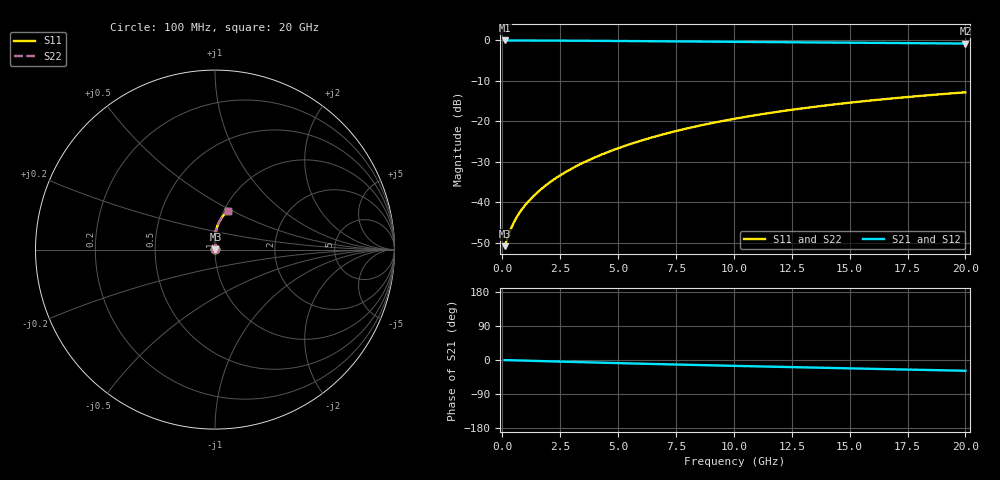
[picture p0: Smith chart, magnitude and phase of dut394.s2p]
! Touchstone file exported from HFSS 2024.1.0
!  File:  C:/UserFiles/LocalFiles/RDL_TSV_Batchsim/temp_RDL_top_394_1779609942.aedt
!  Generated:  04:07:58 PM May 24, 2026
!  Design:  RDL_top
!  Project:  temp_RDL_top_394_1779609942
!  Setup:  Setup1
!  Solution:  Sweep
! Variables:
!  dtsv = 10.80580581um
!  hbump = 3um
!  htsv = 70.03um
!  ldown = 100um
!  lrdl = 421.2um
!  p = 40
!  p1 = 44.99um
!  rhole = 1um
!  t = 450um
!  tdown = 3.915915916um
!  trdl = 2.36um
!  wdown = 15.38538539um
!  wrdl = 27.42um
# GHz S MA R 50.000000
! Terminal data exported
! Port[1] = Box2_T1
! Port[2] = Box2_T2
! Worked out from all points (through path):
!   200 points, 100 MHz to 20 GHz, reference 50 ohm
!   highest |S21| = -0.02 dB at 100 MHz (marker M1); lowest = -0.8 dB at 20 GHz (marker M2)
!   group delay of S21, straight-line fit = 3.89 ps
!   lowest |S11| = -50.8 dB at 100 MHz (marker M3), VSWR 1.01, Z = 50.3 + j0.105 ohm
!   |S11| at or under -10 dB: start of sweep to end of sweep
!   |S22| runs from -50.8 to -12.8 dB; largest |S21 - S12| = 2.1e-15
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0.1  0.002872 21.3  0.9973 -0.2  0.9973 -0.2  0.002872 21.3
! Gamma 0 0 0 0
! Port Impedance 50 0 50 0
0.3  0.00417 45.6  0.997 -0.5  0.997 -0.5  0.00417 45.6
0.4  0.004918 51.7  0.9968 -0.7  0.9968 -0.7  0.004918 51.7
0.5  0.005659 56.1  0.9966 -0.9  0.9966 -0.9  0.005659 56.1
0.6  0.00639 59.5  0.9964 -1.1  0.9964 -1.1  0.00639 59.5
0.7  0.007115 62.4  0.9962 -1.2  0.9962 -1.2  0.007115 62.4
0.9  0.008569 67.1  0.9959 -1.6  0.9959 -1.6  0.008568 67.1
1.2  0.0108 72.4  0.9954 -2.1  0.9954 -2.1  0.0108 72.4
1.7  0.01472 78.5  0.9944 -2.9  0.9944 -2.9  0.01472 78.5
2.2  0.01889 82.5  0.9931 -3.7  0.9931 -3.7  0.01889 82.5
2.8  0.02421 85.8  0.9914 -4.7  0.9914 -4.7  0.02421 85.8
3.5  0.03085 88.3  0.9889 -5.9  0.9889 -5.9  0.03084 88.3
4.2  0.03792 89.8  0.9861 -7.0  0.9861 -7.0  0.03791 89.8
5  0.0465 90.7  0.9827 -8.2  0.9827 -8.2  0.04649 90.7
5.9  0.05668 91.0  0.9785 -9.6  0.9785 -9.6  0.05667 91.0
6.8  0.06733 90.8  0.9742 -10.9  0.9742 -10.9  0.0673 90.7
8.4  0.08702 89.4  0.9663 -13.2  0.9663 -13.2  0.08698 89.3
10.1  0.1085 87.2  0.9581 -15.6  0.9581 -15.6  0.1084 87.1
11.7  0.1288 84.8  0.9505 -17.8  0.9505 -17.8  0.1287 84.8
13.4  0.1501 82.1  0.9427 -20.0  0.9427 -20.0  0.1501 82.1
16.7  0.1903 76.9  0.928 -24.3  0.928 -24.3  0.1902 76.8
20  0.2283 71.8  0.9136 -28.4  0.9136 -28.4  0.2281 71.8
